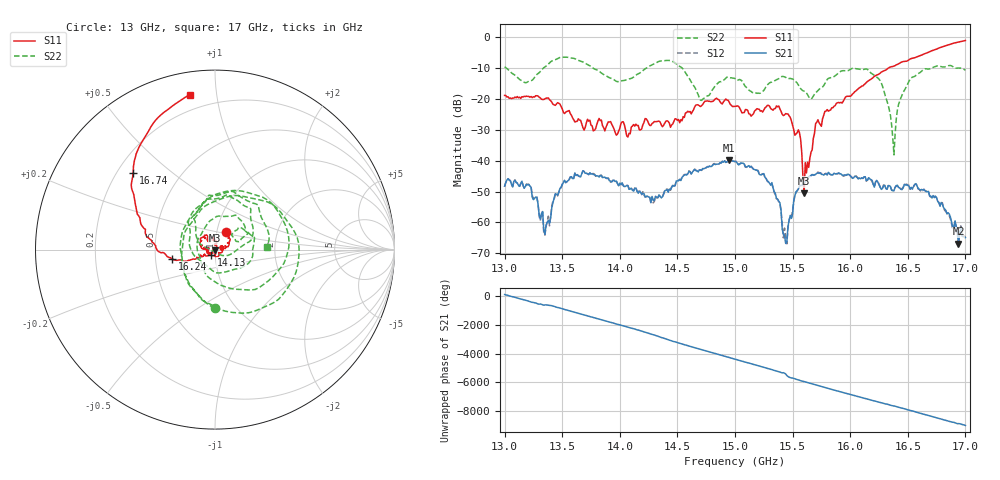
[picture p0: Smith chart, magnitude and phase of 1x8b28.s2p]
!Keysight Technologies,P9374A,MY57211807,A.19.30.04
!Date: Friday, May 08, 2026 14:26:29
!Correction: S11(C  2-Port  )
!S21(C  2-Port  )
!S12(C  2-Port  )
!S22(C  2-Port  )
!S2P File: Measurements: S11, S21, S12, S22:
# Hz S  dB  R 50
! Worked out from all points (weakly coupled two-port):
!   401 points, 13 GHz to 17 GHz, reference 50 ohm
!   highest |S21| = -39.86 dB at 14.95 GHz (marker M1); lowest = -66.9 dB at 16.94 GHz (marker M2)
!   lowest |S11| = -50.6 dB at 15.6 GHz (marker M3), VSWR 1.01, Z = 50 - j0.293 ohm
!   |S11| at or under -10 dB: start of sweep to 16.34 GHz
!   |S22| runs from -38.2 to -6.6 dB; largest |S21 - S12| = 0.00046
!   S11 on the Smith chart (normalised r, x): 13 GHz: 1.11, +0.21; 14.13 GHz: 0.95, -0.05; 16.24 GHz: 0.61, -0.07; 16.74 GHz: 0.27, +0.37; 17 GHz: 0.12, +0.84
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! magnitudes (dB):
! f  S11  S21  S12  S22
! 13 GHz  -18.9  -48.3  -48.4  -9.7
! 13.21 GHz  -19.3  -47.7  -47.7  -14.3
! 13.36 GHz  -19.8  -60.9  -61.3  -9.5
! 13.67 GHz  -28.2  -44.2  -44.2  -8.0
! 14.13 GHz  -28.9  -49.0  -48.8  -12.7
! 14.34 GHz  -27.2  -51.1  -51.4  -7.9
! 14.71 GHz  -22.3  -43.1  -43.2  -20.5
! 14.95 GHz  -21.1  -39.9  -39.8  -13.1
! 15 GHz  -22.5  -40.3  -40.3  -13.5
! 15.31 GHz  -23.2  -47.9  -47.8  -14.7
! 15.43 GHz  -25.2  -64.2  -61.8  -12.9
! 15.55 GHz  -30.0  -49.2  -49.1  -15.5
! 15.6 GHz  -50.6  -47.1  -47.0  -17.6
! 15.67 GHz  -36.5  -44.5  -44.6  -19.8
! 15.79 GHz  -24.0  -44.2  -44.1  -14.4
! 16.24 GHz  -12.2  -46.9  -46.9  -13.3
! 16.34 GHz  -9.9  -48.1  -48.1  -23.7
! 16.38 GHz  -9.4  -49.7  -49.8  -38.2
! 16.51 GHz  -7.4  -48.2  -48.0  -14.4
! 16.74 GHz  -4.1  -51.5  -51.6  -9.6
! 16.94 GHz  -1.7  -66.9  -67.7  -10.1
! 17 GHz  -1.2  -64.9  -64.8  -10.8
